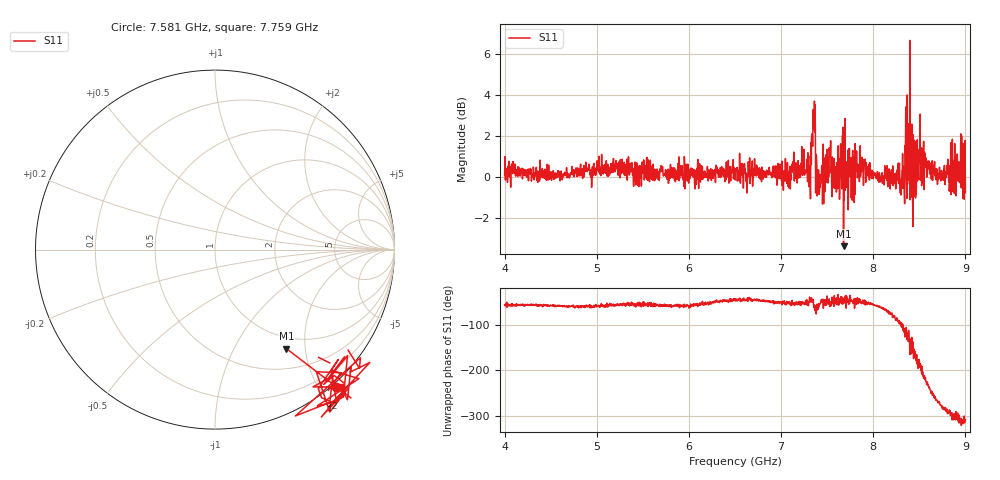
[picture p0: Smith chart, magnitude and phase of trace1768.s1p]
! Created with skrf 1.8.0 (http://scikit-rf.org).
# Hz S RI R 50.0
!freq ReS11 ImS11
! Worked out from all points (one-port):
!   1601 points, 4 GHz to 9 GHz, reference 50 ohm
!   lowest |S11| = -3.3 dB at 7.678 GHz (marker M1), VSWR 5.25, Z = 40.3 - j82.7 ohm
!   |S11| at or under -10 dB: nowhere
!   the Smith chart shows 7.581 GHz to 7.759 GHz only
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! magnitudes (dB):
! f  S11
! 4 GHz  0.1
! 4.625 GHz  -0.1
! 5.25 GHz  0.0
! 5.875 GHz  0.4
! 6.5 GHz  0.1
! 7.125 GHz  0.5
! 7.294 GHz  0.3
! 7.319 GHz  -1.0
! 7.347 GHz  3.3
! 7.369 GHz  3.5
! 7.397 GHz  -0.4
! 7.412 GHz  -0.8
! 7.512 GHz  1.0
! 7.575 GHz  0.1
! 7.65 GHz  1.6
! 7.678 GHz  -3.3
! 7.703 GHz  0.1
! 7.75 GHz  0.1
! 7.878 GHz  1.0
! 8.316 GHz  0.4
! 8.331 GHz  -0.2
! 8.375 GHz  0.5
! 8.447 GHz  1.4
! 8.459 GHz  -1.0
! 8.522 GHz  1.2
! 8.697 GHz  -0.3
! 8.972 GHz  1.0
! 9 GHz  -0.7
